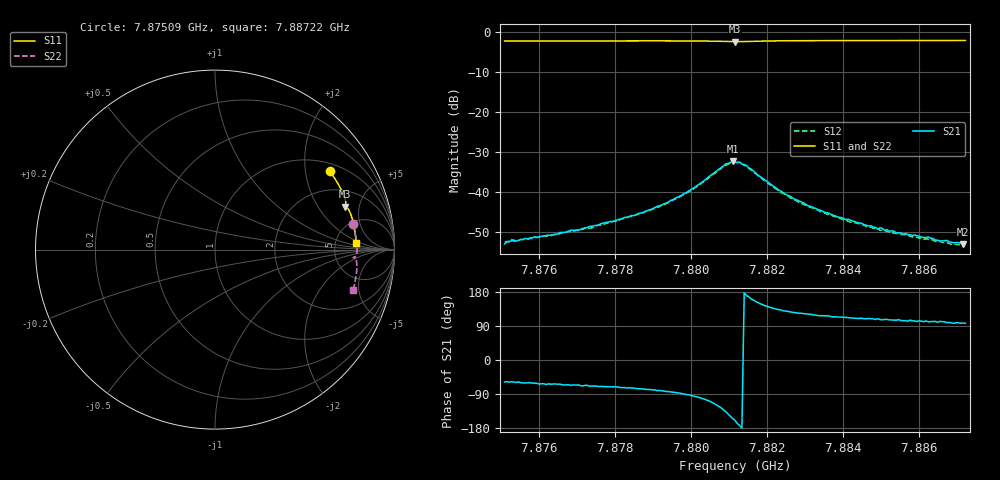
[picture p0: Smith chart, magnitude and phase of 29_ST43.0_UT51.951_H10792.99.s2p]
#  HZ  S  DB  R  50.00
! Rohde & Schwarz Vector Network Analyzer
! Rohde-Schwarz,ZNB20-2Port,1311601062101988,3.16
! Created: UTC 1/12/2023, 6:31:15 PM
! freq[Hz]  db:S11  ang:S11  db:S21  ang:S21  db:S12  ang:S12  db:S22  ang:S22
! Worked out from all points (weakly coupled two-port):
!   201 points, 7.87509 GHz to 7.88722 GHz, reference 50 ohm
!   highest |S21| = -32.38 dB at 7.8811 GHz (marker M1); lowest = -53.2 dB at 7.88716 GHz (marker M2)
!   lowest |S11| = -2.4 dB at 7.88116 GHz (marker M3), VSWR 7.34, Z = 157 + j178 ohm
!   |S11| at or under -10 dB: nowhere
!   |S22| runs from -2.3 to -1.9 dB; largest |S21 - S12| = 0.0018
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7.87509e9  -2.22 34.3  -53.01 -57.9  -52.63 -61.4  -2.13 10.3
7.875212e9  -2.22 34.0  -52.40 -58.6  -52.55 -63.0  -2.13 10.0
7.875272e9  -2.22 33.8  -52.24 -57.2  -51.95 -63.0  -2.13 9.9
7.875333e9  -2.22 33.6  -52.05 -58.4  -52.34 -63.4  -2.12 9.8
7.875394e9  -2.22 33.5  -52.33 -59.3  -52.28 -62.4  -2.12 9.6
7.875879e9  -2.21 32.2  -51.20 -61.2  -51.42 -64.3  -2.11 8.5
7.876303e9  -2.20 31.0  -50.94 -64.0  -50.87 -67.7  -2.11 7.4
7.877153e9  -2.19 28.7  -49.13 -68.5  -49.40 -71.1  -2.08 5.5
7.878487e9  -2.18 25.0  -45.94 -74.0  -45.97 -77.1  -2.05 2.4
7.879154e9  -2.17 23.2  -43.50 -80.4  -43.74 -83.9  -2.04 0.8
7.879882e9  -2.19 21.0  -40.15 -90.7  -40.25 -93.9  -2.06 -1.0
7.880913e9  -2.34 18.3  -32.96 -136.5  -33.35 -140.0  -2.21 -3.4
7.881095e9  -2.38 18.3  -32.38 -154.5  -32.67 -157.3  -2.25 -3.3
7.881156e9  -2.38 18.3  -32.55 -159.2  -32.64 -163.5  -2.25 -3.3
7.881277e9  -2.37 18.3  -32.51 -172.8  -32.80 -175.7  -2.24 -3.2
7.881459e9  -2.32 18.2  -33.41 169.9  -33.69 167.6  -2.19 -3.2
7.882369e9  -2.17 15.8  -39.84 131.8  -40.18 128.1  -2.02 -5.1
7.883218e9  -2.13 13.3  -43.97 119.0  -44.12 115.2  -1.98 -7.2
7.884188e9  -2.11 10.7  -47.07 111.0  -47.56 107.8  -1.95 -9.4
7.885219e9  -2.09 8.0  -49.87 105.7  -50.01 103.5  -1.93 -11.8
7.88716e9  -2.08 2.9  -53.16 97.6  -53.59 95.5  -1.91 -15.9
7.887221e9  -2.07 2.8  -52.96 96.7  -53.45 96.8  -1.92 -16.1
